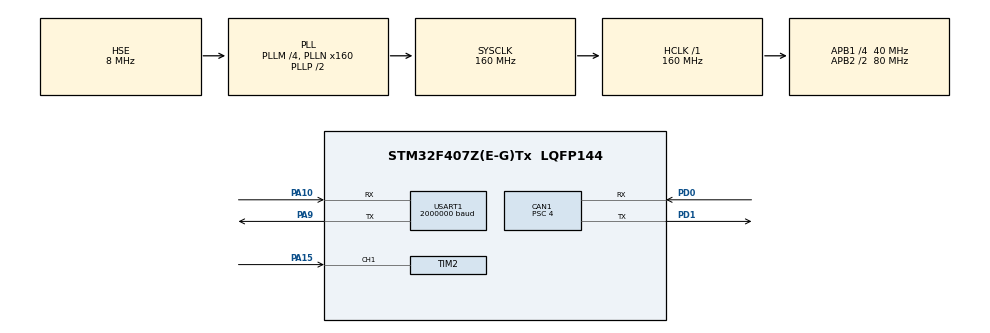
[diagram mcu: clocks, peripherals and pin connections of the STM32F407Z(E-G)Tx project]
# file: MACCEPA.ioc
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CAN1.BS1=CAN_BS1_5TQ
CAN1.BS2=CAN_BS2_4TQ
CAN1.CalculateBaudRate=1000000
CAN1.CalculateTimeBit=1000
CAN1.CalculateTimeQuantum=100.0
CAN1.Mode=CAN_MODE_NORMAL
CAN1.Prescaler=4
Mcu.Family=STM32F4
Mcu.Name=STM32F407Z(E-G)Tx
Mcu.Package=LQFP144
NVIC.CAN1_RX0_IRQn=true\:0\:0\:false\:false\:true\:true\:true\:true
NVIC.CAN1_RX1_IRQn=true\:0\:0\:false\:false\:true\:true\:true\:true
NVIC.PriorityGroup=NVIC_PRIORITYGROUP_4
NVIC.TIM2_IRQn=true\:0\:0\:false\:false\:true\:true\:true\:true
NVIC.TIM4_IRQn=true\:0\:0\:false\:false\:true\:true\:true\:true
PA10.Mode=Asynchronous
PA10.Signal=USART1_RX
PA15.Signal=S_TIM2_CH1_ETR
PA9.Mode=Asynchronous
PA9.Signal=USART1_TX
PB10.Signal=S_TIM2_CH3
PB6.Signal=S_TIM4_CH1
PD0.Mode=CAN_Activate
PD0.Signal=CAN1_RX
PD1.Mode=CAN_Activate
PD1.Signal=CAN1_TX
PH0-OSC_IN.Mode=HSE-External-Oscillator
PH0-OSC_IN.Signal=RCC_OSC_IN
PH1-OSC_OUT.Mode=HSE-External-Oscillator
PH1-OSC_OUT.Signal=RCC_OSC_OUT
ProjectManager.HeapSize=0x200
ProjectManager.StackSize=0x400
ProjectManager.TargetToolchain=MDK-ARM V5.32
RCC.48MHZClocksFreq_Value=80000000
RCC.AHBFreq_Value=160000000
RCC.APB1CLKDivider=RCC_HCLK_DIV4
RCC.APB1Freq_Value=40000000
RCC.APB1TimFreq_Value=80000000
RCC.APB2CLKDivider=RCC_HCLK_DIV2
RCC.APB2Freq_Value=80000000
RCC.APB2TimFreq_Value=160000000
RCC.CortexFreq_Value=160000000
RCC.HCLKFreq_Value=160000000
RCC.HSE_VALUE=8000000
RCC.HSI_VALUE=16000000
RCC.LSE_VALUE=32768
RCC.PLLM=4
RCC.PLLN=160
RCC.PLLSourceVirtual=RCC_PLLSOURCE_HSE
RCC.SYSCLKFreq_VALUE=160000000
RCC.SYSCLKSource=RCC_SYSCLKSOURCE_PLLCLK
RCC.VCOOutputFreq_Value=320000000
SH.S_TIM2_CH1_ETR.0=TIM2_CH1,Input_Capture1_from_TI1
SH.S_TIM2_CH3.0=TIM2_CH3
SH.S_TIM4_CH1.0=TIM4_CH1
TIM2.Channel-Input_Capture1_from_TI1=TIM_CHANNEL_1
TIM2.Prescaler=80-1
TIM4.Period=20-1
TIM4.Prescaler=8000-1
USART1.BaudRate=2000000
USART1.VirtualMode=VM_ASYNC
VP_TIM4_VS_ClockSourceINT.Mode=Internal
board=custom

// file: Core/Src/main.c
/* USER CODE BEGIN Header */
/**
 ******************************************************************************
 * @file           : main.c
 * @brief          : Main program body
 ******************************************************************************
 * @attention
 *
 * Copyright (c) 2024 STMicroelectronics.
 * All rights reserved.
 *
 * This software is licensed under terms that can be found in the LICENSE file
 * in the root directory of this software component.
 * If no LICENSE file comes with this software, it is provided AS-IS.
 *
 ******************************************************************************
 */
/* USER CODE END Header */
#include "main.h"
#include "can.h"
#include "tim.h"
#include "usart.h"
#include "gpio.h"

/* USER CODE BEGIN Includes */

#include "my_can.h"
#include "my_motor.h"
#include "my_spdlog.h"

/* USER CODE END Includes */

/* USER CODE BEGIN PV */

float AS5048_angle;
extern float motor_angle_float;

volatile uint8_t timer4_flag = 0;

/* USER CODE END PV */

void SystemClock_Config(void);

int main(void)
{

  /* MCU Configuration--------------------------------------------------------*/

  /* Reset of all peripherals, Initializes the Flash interface and the Systick. */
  HAL_Init();

  /* Configure the system clock */
  SystemClock_Config();

  /* Initialize all configured peripherals */
  MX_GPIO_Init();
  MX_USART1_UART_Init();
  MX_CAN1_Init();
  MX_TIM2_Init();
  MX_TIM4_Init();
  /* USER CODE BEGIN 2 */

    CAN_Init(&hcan1);  // 初始化CAN总线
    CAN_Filter_Mask_Config(&hcan1, CAN_FILTER(13) | CAN_FIFO_1 | CAN_STDID | CAN_DATA_TYPE, 0x141, 0x000);

    HAL_TIM_IC_Start_IT(&htim2, TIM_CHANNEL_1);  // 使能定时器输入捕获通道中断，用于捕获 PWM 信号，计算频率和占空比

    // 电机归零位
    multiTurnPositionControl2(0, 300);
    while (motor_angle_float > 0.1 || motor_angle_float < -0.1) {
        readMultiTurnAngle();
        HAL_Delay(2);
    }

		HAL_TIM_Base_Start_IT(&htim4);   // 使能定时器 4 中断，用于位置控制

  /* USER CODE END 2 */

  /* Infinite loop */
  /* USER CODE BEGIN WHILE */
    while (1) {
        // Read_Angle_Test();
        // Square_Wave_Test(60, 800);
        Sine_Wave_Test(10, 1000);
    /* USER CODE END WHILE */

    }
}

void SystemClock_Config(void)
{
  RCC_OscInitTypeDef RCC_OscInitStruct = {0};
  RCC_ClkInitTypeDef RCC_ClkInitStruct = {0};

  /** Configure the main internal regulator output voltage
  */
  __HAL_RCC_PWR_CLK_ENABLE();
  __HAL_PWR_VOLTAGESCALING_CONFIG(PWR_REGULATOR_VOLTAGE_SCALE1);

  /** Initializes the RCC Oscillators according to the specified parameters
  * in the RCC_OscInitTypeDef structure.
  */
  RCC_OscInitStruct.OscillatorType = RCC_OSCILLATORTYPE_HSE;
  RCC_OscInitStruct.HSEState = RCC_HSE_ON;
  RCC_OscInitStruct.PLL.PLLState = RCC_PLL_ON;
  RCC_OscInitStruct.PLL.PLLSource = RCC_PLLSOURCE_HSE;
  RCC_OscInitStruct.PLL.PLLM = 4;
  RCC_OscInitStruct.PLL.PLLN = 160;
  RCC_OscInitStruct.PLL.PLLP = RCC_PLLP_DIV2;
  RCC_OscInitStruct.PLL.PLLQ = 4;
  if (HAL_RCC_OscConfig(&RCC_OscInitStruct) != HAL_OK)
  {
    Error_Handler();
  }

  /** Initializes the CPU, AHB and APB buses clocks
  */
  RCC_ClkInitStruct.ClockType = RCC_CLOCKTYPE_HCLK|RCC_CLOCKTYPE_SYSCLK
                              |RCC_CLOCKTYPE_PCLK1|RCC_CLOCKTYPE_PCLK2;
  RCC_ClkInitStruct.SYSCLKSource = RCC_SYSCLKSOURCE_PLLCLK;
  RCC_ClkInitStruct.AHBCLKDivider = RCC_SYSCLK_DIV1;
  RCC_ClkInitStruct.APB1CLKDivider = RCC_HCLK_DIV4;
  RCC_ClkInitStruct.APB2CLKDivider = RCC_HCLK_DIV2;

  if (HAL_RCC_ClockConfig(&RCC_ClkInitStruct, FLASH_LATENCY_5) != HAL_OK)
  {
    Error_Handler();
  }
}

/* USER CODE BEGIN 4 */

void HAL_TIM_PeriodElapsedCallback(TIM_HandleTypeDef *htim)
{
	if(htim==&htim4)
	{
		timer4_flag = 1;
//		user_spdlog_debug("enter timer4");
	}
}

void HAL_TIM_IC_CaptureCallback(TIM_HandleTypeDef *htim) {
    if (htim == &htim2) {
        // !一些 PWM 涉及的变量，下面 5 个 static 去掉的话，AS5048_angle 就会计算的很奇怪，不知道为什么
        static uint32_t total_count;         // 一个 PWM 周期内的总计数
        static uint32_t high_count;          // 一个 PWM 周期内的高电平计数
        static uint32_t low_count;           // 一个 PWM 周期内的低电平计数
        static float duty_circle;            // 占空比
        static float frequency;              // 频率
        static uint8_t risingEdgeFlag = 0;   // 上升沿标志位
        static uint8_t fallingEdgeFlag = 0;  // 下降沿标志位

        // 根据电平信号，获取计算 PWM 要用的数据
        if (HAL_GPIO_ReadPin(GPIOA, GPIO_PIN_15) == 1) {                                             // 上升沿
            risingEdgeFlag = 1;                                                                      // 上升沿标志位置 1
            low_count = HAL_TIM_ReadCapturedValue(&htim2, TIM_CHANNEL_1);                            // 读取低电平计数值
            __HAL_TIM_SET_COUNTER(&htim2, 0);                                                        // 定时器 4 计数器清零
            __HAL_TIM_SET_CAPTUREPOLARITY(&htim2, TIM_CHANNEL_1, TIM_INPUTCHANNELPOLARITY_FALLING);  // 设置下降沿捕获
        }

        if (HAL_GPIO_ReadPin(GPIOA, GPIO_PIN_15) == 0) {                                            // 下降沿
            fallingEdgeFlag = 1;                                                                    // 下降沿标志位置 1
            high_count = HAL_TIM_ReadCapturedValue(&htim2, TIM_CHANNEL_1);                          // 读取高电平计数值
            __HAL_TIM_SET_COUNTER(&htim2, 0);                                                       // 定时器 4 计数器清零
            __HAL_TIM_SET_CAPTUREPOLARITY(&htim2, TIM_CHANNEL_1, TIM_INPUTCHANNELPOLARITY_RISING);  // 设置上升沿捕获
        }
        if (risingEdgeFlag == 1 && fallingEdgeFlag == 1) {
            // 一次 PWM 信号完成，计算相关数据
            total_count = high_count + low_count;  // 计算一个 PWM 周期内的总计数
            duty_circle = (float)high_count / (high_count + low_count);
            // duty_circle = (high_count * 1.0) / (total_count * 1.0);  // 加上这行竟然就卡了？
            risingEdgeFlag = 0;
            fallingEdgeFlag = 0;
            AS5048_angle = duty_circle * 360 - 92;

            // static float last_AS5048_angle = AS5048_angle;

            // 计数，用来输出一些信息
//            static uint32_t cnt = 0;
//            cnt++;
//            if (cnt % 1 == 0) {
//                //                user_spdlog_trace("total_count=%d", total_count);
//                //                user_spdlog_trace("high_count=%d", high_count);
//                //                user_spdlog_trace("duty_circle=%.3f", duty_circle);
//                //                user_spdlog_trace("frequency=%.3f", frequency);
//                // user_spdlog_trace("AS5048_angle=%.3f", AS5048_angle);
//                if (AS5048_angle > 1 || AS5048_angle < -1) {
//                    // user_spdlog_error("AS5048_angle=%.3f", AS5048_angle);
//                }
//            }
        }
    }
}

/* USER CODE END 4 */

void Error_Handler(void)
{
    __disable_irq();
    while (1) {
    }
}
